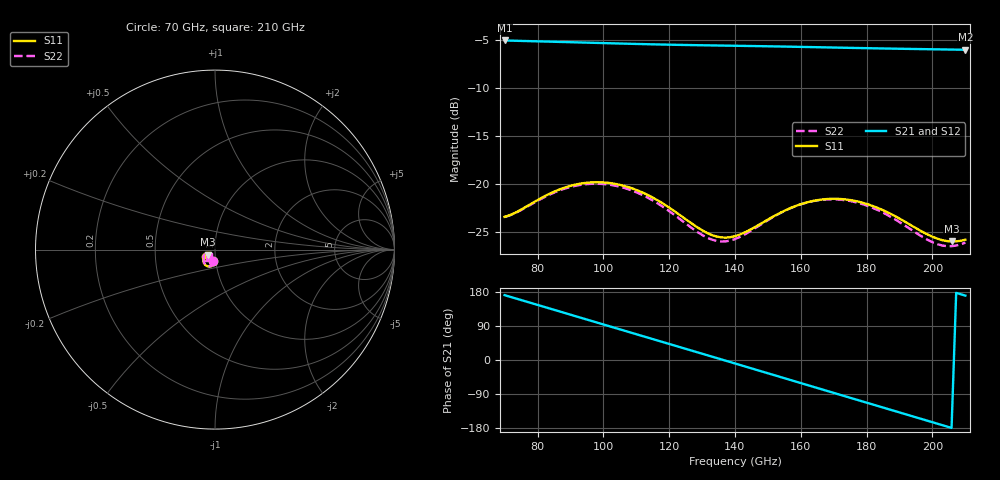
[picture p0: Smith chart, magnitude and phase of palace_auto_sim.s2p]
#  GHZ S DB R 50
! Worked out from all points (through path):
!   101 points, 70 GHz to 210 GHz, reference 50 ohm
!   highest |S21| = -5.03 dB at 70 GHz (marker M1); lowest = -6.0 dB at 210 GHz (marker M2)
!   group delay of S21, straight-line fit = 7.17 ps
!   lowest |S11| = -26.0 dB at 205.8 GHz (marker M3), VSWR 1.11, Z = 45.9 - j2.55 ohm
!   |S11| at or under -10 dB: start of sweep to end of sweep
!   |S22| runs from -26.5 to -20.0 dB; largest |S21 - S12| = 6.2e-14
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70  -23.46 -100.9  -5.03 171.1  -5.03 171.1  -23.48 -101.4
75.6  -22.59 -95.7  -5.08 156.7  -5.08 156.7  -22.65 -96.3
81.2  -21.48 -96.5  -5.13 142.3  -5.13 142.3  -21.57 -97.0
88.2  -20.41 -102.9  -5.19 124.3  -5.19 124.3  -20.52 -103.4
93.8  -19.95 -110.4  -5.24 109.8  -5.24 109.8  -20.09 -110.8
99.4  -19.85 -118.7  -5.30 95.4  -5.30 95.4  -20.02 -119.1
105  -20.11 -127.0  -5.35 80.9  -5.35 80.9  -20.32 -127.4
110.6  -20.73 -134.6  -5.40 66.5  -5.40 66.5  -20.98 -134.9
117.6  -21.97 -141.9  -5.45 48.5  -5.45 48.5  -22.30 -141.9
128.8  -24.61 -142.7  -5.52 19.7  -5.52 19.7  -25.10 -141.4
134.4  -25.52 -135.9  -5.55 5.3  -5.55 5.3  -25.98 -133.4
140  -25.48 -127.4  -5.58 -9.2  -5.58 -9.2  -25.79 -124.0
151.2  -23.51 -121.1  -5.64 -38.1  -5.64 -38.1  -23.56 -118.2
158.2  -22.36 -125.3  -5.69 -56.3  -5.69 -56.3  -22.37 -123.0
163.8  -21.79 -131.0  -5.73 -70.8  -5.73 -70.8  -21.82 -129.1
169.4  -21.58 -137.6  -5.76 -85.2  -5.76 -85.2  -21.63 -135.9
175  -21.71 -144.3  -5.80 -99.7  -5.80 -99.7  -21.81 -142.8
180.6  -22.18 -150.3  -5.84 -114.2  -5.84 -114.2  -22.36 -148.9
187.6  -23.21 -155.8  -5.88 -132.2  -5.88 -132.2  -23.52 -154.2
197.4  -25.11 -155.6  -5.94 -157.5  -5.94 -157.5  -25.65 -152.4
205.8  -26.04 -146.2  -5.98 -179.2  -5.98 -179.2  -26.53 -140.0
210  -25.85 -140.8  -6.00 169.9  -6.00 169.9  -26.15 -133.4
